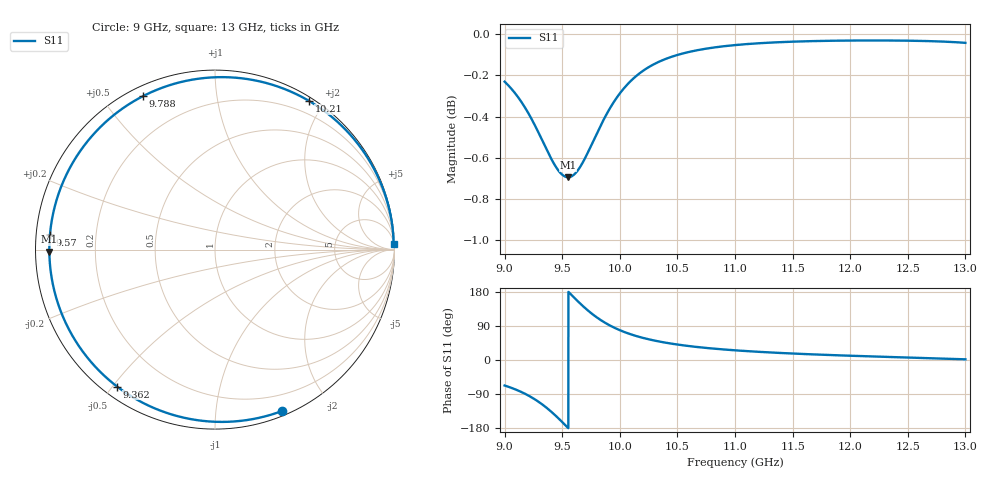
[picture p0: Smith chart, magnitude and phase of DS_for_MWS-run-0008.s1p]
! TOUCHSTONE file generated by CST DESIGN STUDIO
! Date and time: Tue Feb  4 12:46:55 2025
! Project name: C:\Work\MatlabApps\UnitCellOptimizationMatlab\CST\unitcell.cst
! Tree item: Tasks\Sweep1\SPara1\S-Parameters
! Header version: 2024
! Port assignment regex: !\s*Touchstone port\s*([0-9]+)\s*=\s*(CST MWS port|CST DES external port|CST DES block port)\s*(.+)\s* \(\"(.*)\"\)(\s*mode\s*([0-9]+))?.*
! Touchstone port assignment:
! Touchstone port 1 = CST DES external port 1 ("")
# GHz S MA R 50
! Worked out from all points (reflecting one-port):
!   4001 points, 9 GHz to 13 GHz, reference 50 ohm
!   lowest |S11| = -0.7 dB at 9.551 GHz (marker M1), VSWR 25.02, Z = 2 - j0.304 ohm
!   phase of S11 starts at -67 deg and turns -291 deg over the sweep
!   S11 on the Smith chart (normalised r, x): 9 GHz: 0.04, -1.50; 9.362 GHz: 0.04, -0.51; 9.57 GHz: 0.04, +0.05; 9.788 GHz: 0.04, +0.63; 10.21 GHz: 0.04, +1.82; 13 GHz: 10, +63
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9  0.9739 -67.3
9.04  0.9713 -71.4
9.105  0.9664 -79.0
9.216  0.9558 -95.4
9.293  0.9467 -109.9
9.362  0.9379 -125.5
9.428  0.9302 -142.7
9.466  0.9267 -153.6
9.5  0.9245 -163.7
9.551  0.9231 -179.3
9.57  0.9233 174.8
9.624  0.9258 158.4
9.685  0.9315 140.8
9.736  0.9377 127.4
9.788  0.9444 115.1
9.833  0.9501 105.7
9.882  0.956 96.5
10  0.9675 78.7
10.1  0.9746 67.3
10.21  0.9802 57.7
10.343  0.9849 48.7
10.5  0.9885 40.8
10.721  0.9917 32.7
11  0.994 25.5
11.5  0.9959 17.1
12  0.9965 11.3
12.5  0.9965 6.5
13  0.9953 1.8
